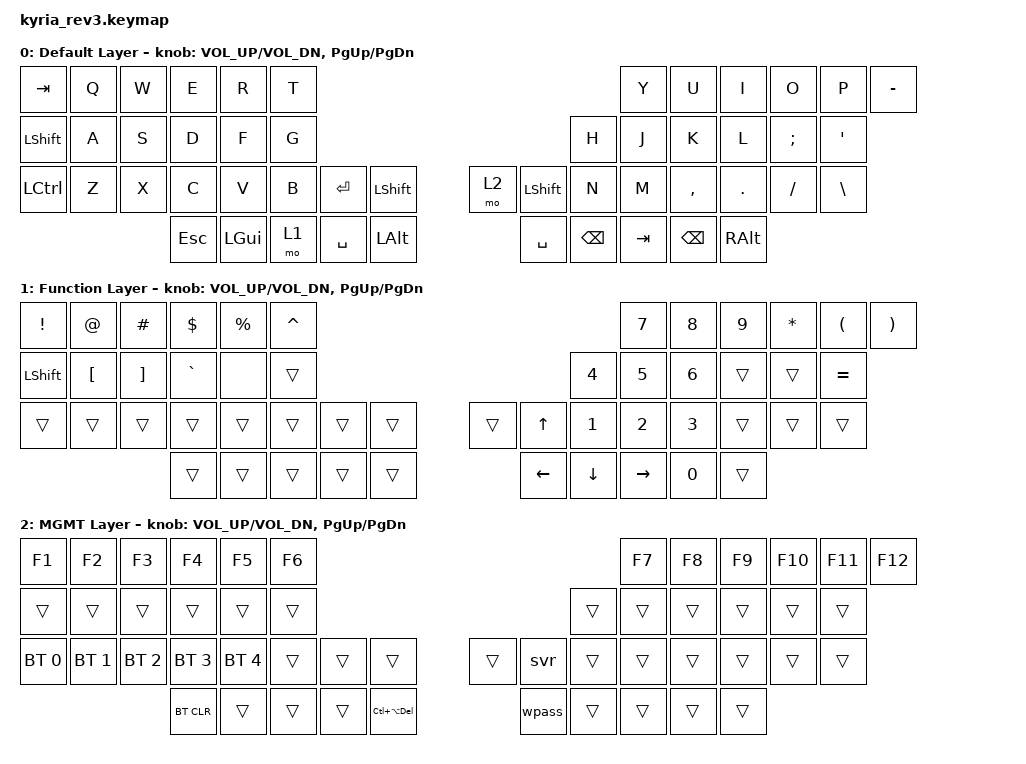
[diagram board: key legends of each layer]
/*
 * Copyright (c) 2023 The ZMK Contributors
 *
 * SPDX-License-Identifier: MIT
 */

#include <behaviors.dtsi>
#include <dt-bindings/zmk/bt.h>
#include <dt-bindings/zmk/keys.h>

/* Uncomment this block if using RGB
&led_strip {
    chain-length = <6>;
    // chain-length = <31>; // Uncomment if using both per-key and underglow LEDs
    // chain-length = <25>; // Uncomment if using only per-key LEDs.
};
 */
/{
    macros {
     wpass: wpass {
        label = "Standard";
        compatible = "zmk,behavior-macro";
         #binding-cells = <0>;

        // This example types:  Hello, ZMK_rocks! 
         bindings = <
         &macro_tap
            &kp MINUS &kp LS(W) &kp A &kp N &kp D &kp N8 
            &kp MINUS &kp LS(C) &kp L &kp U &kp N &kp K &kp Y 
            &kp MINUS &kp LS(S) &kp A &kp N &kp D &kp S &kp T &kp O &kp R &kp M
            &kp RET
            >;
        };
        svr: svr{
            label = "Standard";
            compatible = "zmk,behavior-macro";
            #binding-cells = <0>;
            bindings = <
            &macro_tap
                &kp T &kp LS(A) &kp N0 &kp LS(N6) &kp N4 &kp K &kp T &kp LS(Y) &kp K &kp N1 &kp N1 &kp LS(L) &kp LS(N5) &kp O &kp LS(P) &kp LS(N2) &kp LS(U) &kp F
            >;
        };
    };
    keymap {
        compatible = "zmk,keymap";

        default_layer {
            display-name = "Default Layer";
            // ---------------------------------------------------------------------------------------------------------------------------------
            // |  TAB  |  Q  |  W  |  E   |  R   |  T   |                                          |  Y   |  U    |  I    |  O   |   P   |   -  |
            // |  SHIFT|  A  |  S  |  D   |  F   |  G   |                                          |  H   |  J    |  K    |  L   |   ;   |   '  |
            // |  CTRL |  Z  |  X  |  C   |  V   |  B   |   RET   | L SHIFT |   | LAYER 2 | L SHIFT |  N   |  M    |  ,    |  .   |   /   |   \  |
            //                     |  ESC | GUI  |LAYER 1|  SPACE  |   L-ALT   |  |   SPACE  |  BSPC  | TAB  | BSPC  | R-ALT |
            bindings = <
            &kp TAB   &kp Q &kp W &kp E &kp R &kp T                                                      &kp Y &kp U  &kp I  &kp O &kp P &kp MINUS
            &kp LSHIFT &kp A &kp S &kp D &kp F &kp G                                                     &kp H &kp J  &kp K  &kp L &kp SEMI &kp SQT
            &kp LCTRL &kp Z &kp X &kp C &kp V &kp B &kp RET &kp LSHFT            &mo 2   &kp LSHFT &kp N &kp M  &kp COMMA &kp DOT &kp FSLH &kp BSLH
                                  &kp ESC &kp LGUI &mo 1 &kp SPACE &kp LALT       &kp SPACE &kp BSPC &kp TAB &kp BSPC &kp RALT
            >;

            sensor-bindings = <&inc_dec_kp C_VOL_UP C_VOL_DN &inc_dec_kp PG_UP PG_DN>;
        };
        function_layer {
            display-name = "Function Layer";
            // ---------------------------------------------------------------------------------------------------------------------------------
            // |   !   |   @  |   #  |   $  |  %   |  ^   |                                             |  7   |  8   |  9   |   *  |   (  |   )  |
            // | SHIFT |  LBK | RBK  | GRAVE|      |      |                                             |  4   |  5   |  6   |      |      | Equal|
            // |       |      |      |      |      |      |      |      |                |      |   ⬆   |  1   |  2   |  3   |      |      |      |
            //                       |      |      |      |      |      |                |  ⬅  |   ⬇   |  ⮕  |  0   |      |
            bindings = <
            &kp EXCL &kp AT &kp HASH &kp DLLR &kp PRCNT &kp CARET                        &kp N7 &kp N8 &kp N9 &kp STAR &kp LPAR &kp RPAR
            &kp LSHIFT &kp LBKT &kp RBKT &kp GRAVE &none &trans                           &kp N4 &kp N5 &kp N6 &trans &trans &kp EQUAL
            &trans &trans &trans &trans &trans &trans &trans &trans        &trans &kp UP &kp N1 &kp N2 &kp N3 &trans &trans &trans
                                 &trans &trans &trans &trans &trans        &kp LEFT &kp DOWN &kp RIGHT &kp N0 &trans
            >;

            sensor-bindings = <&inc_dec_kp C_VOL_UP C_VOL_DN &inc_dec_kp PG_UP PG_DN>;
        };
        MGMT_layer {
            display-name = "MGMT Layer";
            // ---------------------------------------------------------------------------------------------------------------------------------
            // |   F1  |  F2  |  F3  |  F4  |  F5 |  F6  |                                         |   F7 |   F8 |   F9 |   F10 |  F11  |  F12  |
            // |       |      |      |      |     |      |                                         |      |      |      |      |        |       |
            // |BTSEL0|BTSEL1|BTSEL2|BTSEL3|BTSEL4|      |       |       |           |      |  svr |      |      |      |      |        |       |
            //                      |BT_CLR|      |      |       |   CAD |           |wpass |      |      |      |      |      |
            bindings = <
            &kp F1 &kp F2 &kp F3 &kp F4 &kp F5 &kp F6                                                                &kp F7 &kp F8 &kp F9 &kp F10 &kp F11 &kp F12
            &trans &trans &trans &trans &trans &trans                                                                &trans &trans &trans &trans &trans &trans
            &bt BT_SEL 0 &bt BT_SEL 1 &bt BT_SEL 2 &bt BT_SEL 3 &bt BT_SEL 4 &trans &trans &trans      &trans &svr &trans &trans &trans &trans &trans &trans
                         &bt BT_CLR &trans &trans &trans &kp LC(LA(DEL))                                    &wpass &trans &trans &trans &trans
            >;

            sensor-bindings = <&inc_dec_kp C_VOL_UP C_VOL_DN &inc_dec_kp PG_UP PG_DN>;
        };
    };
};
